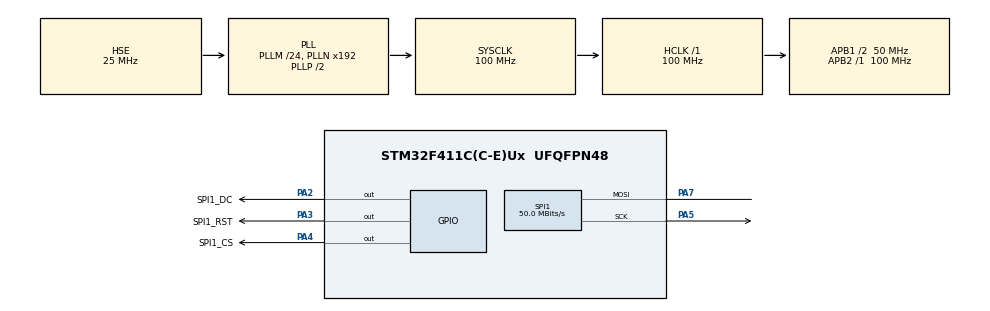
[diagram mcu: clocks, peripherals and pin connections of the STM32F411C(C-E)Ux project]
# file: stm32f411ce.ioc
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Mcu.Family=STM32F4
RCC.PLLSourceVirtual=RCC_PLLSOURCE_HSE
VP_STMicroelectronics.X-CUBE-TOUCHGFX_VS_GraphicsJjApplication_4.18.1.Mode=GraphicsJjApplication
RCC.CortexFreq_Value=100000000
PA7.Mode=Simplex_Bidirectional_Master
STMicroelectronics.X-CUBE-TOUCHGFX.4.18.1_IsPackSelfContextualization=true
SPI1.VirtualType=VM_MASTER
STMicroelectronics.X-CUBE-TOUCHGFX.4.18.1.tgfx_pixel_format=RGB565\:16
PH1\ -\ OSC_OUT.Mode=HSE-External-Oscillator
PA2.GPIO_Speed=GPIO_SPEED_FREQ_VERY_HIGH
RCC.APB1CLKDivider=RCC_HCLK_DIV2
PA3.GPIO_Speed=GPIO_SPEED_FREQ_VERY_HIGH
RCC.SYSCLKSource=RCC_SYSCLKSOURCE_PLLCLK
ProjectManager.StackSize=0x400
PH0\ -\ OSC_IN.Mode=HSE-External-Oscillator
PA4.PinState=GPIO_PIN_SET
PH0\ -\ OSC_IN.Signal=RCC_OSC_IN
ProjectManager.TargetToolchain=STM32CubeIDE
SPI1.Direction=SPI_DIRECTION_1LINE
RCC.HCLKFreq_Value=100000000
RCC.APB2TimFreq_Value=100000000
SPI1.CalculateBaudRate=50.0 MBits/s
RCC.LSE_VALUE=32768
RCC.AHBFreq_Value=100000000
PA5.Signal=SPI1_SCK
RCC.HSE_VALUE=25000000
PH1\ -\ OSC_OUT.Signal=RCC_OSC_OUT
board=custom
STMicroelectronics.X-CUBE-TOUCHGFX.4.18.1.tgfx_custom_height=128
RCC.VCOOutputFreq_Value=200000000
PA4.GPIO_Speed=GPIO_SPEED_FREQ_VERY_HIGH
PA2.PinState=GPIO_PIN_SET
RCC.APB2Freq_Value=100000000
SPI1.Mode=SPI_MODE_MASTER
STMicroelectronics.X-CUBE-TOUCHGFX.4.18.1.tgfx_custom_width=128
SPI1.DataSize=SPI_DATASIZE_8BIT
STMicroelectronics.X-CUBE-TOUCHGFX.4.18.1.tgfx_number_of_blocks=1
Mcu.Name=STM32F411C(C-E)Ux
PA2.Signal=GPIO_Output
RCC.48MHZClocksFreq_Value=50000000
PA4.Signal=GPIO_Output
RCC.SYSCLKFreq_VALUE=100000000
Mcu.Package=UFQFPN48
PA2.GPIO_Label=SPI1_DC
STMicroelectronics.X-CUBE-TOUCHGFX.4.18.1.tgfx_address1=0xD0100000
ProjectManager.HeapSize=0x200
RCC.HSI_VALUE=16000000
STMicroelectronics.X-CUBE-TOUCHGFX.4.18.1.tgfx_location=Allocate
STMicroelectronics.X-CUBE-TOUCHGFX.4.18.1.ApplicationCcGraphicsJjApplication=TouchGFXOoGenerator
NVIC.PriorityGroup=NVIC_PRIORITYGROUP_4
RCC.PLLM=24
RCC.APB1TimFreq_Value=100000000
PA3.PinState=GPIO_PIN_SET
RCC.APB1Freq_Value=50000000
SPI1.BaudRatePrescaler=SPI_BAUDRATEPRESCALER_2
VP_CRC_VS_CRC.Mode=CRC_Activate
PA4.GPIO_Label=SPI1_CS
STMicroelectronics.X-CUBE-TOUCHGFX.4.18.1.tgfx_hardware_accelerator=dma_custom
PA3.GPIO_Label=SPI1_RST
PA3.Signal=GPIO_Output
STMicroelectronics.X-CUBE-TOUCHGFX.4.18.1.tgfx_buffering_strategy=Single
PA5.Mode=Simplex_Bidirectional_Master
PA7.Signal=SPI1_MOSI

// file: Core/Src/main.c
/* USER CODE BEGIN Header */
/**
  ******************************************************************************
  * @file           : main.c
  * @brief          : Main program body
  ******************************************************************************
  * @attention
  *
  * <h2><center>&copy; Copyright (c) 2022 STMicroelectronics.
  * All rights reserved.</center></h2>
  *
  * This software component is licensed by ST under BSD 3-Clause license,
  * the "License"; You may not use this file except in compliance with the
  * License. You may obtain a copy of the License at:
  *                        opensource.org/licenses/BSD-3-Clause
  *
  ******************************************************************************
  */
/* USER CODE END Header */
#include "main.h"
#include "app_touchgfx.h"

/* USER CODE BEGIN Includes */
#include "ST7735.h"
#include "GFX_FUNCTIONS.h"

// #include "u8g2/u8g2.h"

/* USER CODE END Includes */

CRC_HandleTypeDef hcrc;

SPI_HandleTypeDef hspi1;

void SystemClock_Config(void);
static void MX_GPIO_Init(void);
static void MX_CRC_Init(void);
static void MX_SPI1_Init(void);

int main(void)
{

  /* MCU Configuration--------------------------------------------------------*/

  /* Reset of all peripherals, Initializes the Flash interface and the Systick. */
  HAL_Init();

  /* Configure the system clock */
  SystemClock_Config();

  /* Initialize all configured peripherals */
  MX_GPIO_Init();
  MX_CRC_Init();
  MX_SPI1_Init();
  MX_TouchGFX_Init();
  /* USER CODE BEGIN 2 */
  ST7735_Init(0);
  fillScreen(BLACK);

  /* USER CODE END 2 */

  /* Infinite loop */
    while (1)
    {

  MX_TouchGFX_Process();
    /* USER CODE BEGIN 3 */

  	  ST7735_SetRotation(0);
  	  ST7735_WriteString(0, 0, "HELLO", Font_11x18, RED,BLACK);
  	  HAL_Delay(1000);
  	  fillScreen(BLACK);

  	  ST7735_SetRotation(1);
  	  ST7735_WriteString(0, 0, "WORLD", Font_11x18, GREEN,BLACK);
  	  HAL_Delay(1000);
  	  fillScreen(BLACK);

  	  ST7735_SetRotation(2);
  	  ST7735_WriteString(0, 0, "FROM", Font_11x18, BLUE,BLACK);
  	  HAL_Delay(1000);
  	  fillScreen(BLACK);

  	  ST7735_SetRotation(3);
  	  ST7735_WriteString(0, 0, "ControllersTech", Font_16x26, YELLOW,BLACK);
  	  HAL_Delay(1000);
  	  fillScreen(BLACK);
    }
  /* USER CODE END 3 */
}

void SystemClock_Config(void)
{
  RCC_OscInitTypeDef RCC_OscInitStruct = {0};
  RCC_ClkInitTypeDef RCC_ClkInitStruct = {0};

  /** Configure the main internal regulator output voltage
  */
  __HAL_RCC_PWR_CLK_ENABLE();
  __HAL_PWR_VOLTAGESCALING_CONFIG(PWR_REGULATOR_VOLTAGE_SCALE1);
  /** Initializes the RCC Oscillators according to the specified parameters
  * in the RCC_OscInitTypeDef structure.
  */
  RCC_OscInitStruct.OscillatorType = RCC_OSCILLATORTYPE_HSE;
  RCC_OscInitStruct.HSEState = RCC_HSE_ON;
  RCC_OscInitStruct.PLL.PLLState = RCC_PLL_ON;
  RCC_OscInitStruct.PLL.PLLSource = RCC_PLLSOURCE_HSE;
  RCC_OscInitStruct.PLL.PLLM = 24;
  RCC_OscInitStruct.PLL.PLLN = 192;
  RCC_OscInitStruct.PLL.PLLP = RCC_PLLP_DIV2;
  RCC_OscInitStruct.PLL.PLLQ = 4;
  if (HAL_RCC_OscConfig(&RCC_OscInitStruct) != HAL_OK)
  {
    Error_Handler();
  }
  /** Initializes the CPU, AHB and APB buses clocks
  */
  RCC_ClkInitStruct.ClockType = RCC_CLOCKTYPE_HCLK|RCC_CLOCKTYPE_SYSCLK
                              |RCC_CLOCKTYPE_PCLK1|RCC_CLOCKTYPE_PCLK2;
  RCC_ClkInitStruct.SYSCLKSource = RCC_SYSCLKSOURCE_PLLCLK;
  RCC_ClkInitStruct.AHBCLKDivider = RCC_SYSCLK_DIV1;
  RCC_ClkInitStruct.APB1CLKDivider = RCC_HCLK_DIV2;
  RCC_ClkInitStruct.APB2CLKDivider = RCC_HCLK_DIV1;

  if (HAL_RCC_ClockConfig(&RCC_ClkInitStruct, FLASH_LATENCY_3) != HAL_OK)
  {
    Error_Handler();
  }
}

static void MX_CRC_Init(void)
{

  hcrc.Instance = CRC;
  if (HAL_CRC_Init(&hcrc) != HAL_OK)
  {
    Error_Handler();
  }

}

static void MX_SPI1_Init(void)
{

  /* SPI1 parameter configuration*/
  hspi1.Instance = SPI1;
  hspi1.Init.Mode = SPI_MODE_MASTER;
  hspi1.Init.Direction = SPI_DIRECTION_1LINE;
  hspi1.Init.DataSize = SPI_DATASIZE_8BIT;
  hspi1.Init.CLKPolarity = SPI_POLARITY_LOW;
  hspi1.Init.CLKPhase = SPI_PHASE_1EDGE;
  hspi1.Init.NSS = SPI_NSS_SOFT;
  hspi1.Init.BaudRatePrescaler = SPI_BAUDRATEPRESCALER_2;
  hspi1.Init.FirstBit = SPI_FIRSTBIT_MSB;
  hspi1.Init.TIMode = SPI_TIMODE_DISABLE;
  hspi1.Init.CRCCalculation = SPI_CRCCALCULATION_DISABLE;
  hspi1.Init.CRCPolynomial = 10;
  if (HAL_SPI_Init(&hspi1) != HAL_OK)
  {
    Error_Handler();
  }

}

static void MX_GPIO_Init(void)
{
  GPIO_InitTypeDef GPIO_InitStruct = {0};

  /* GPIO Ports Clock Enable */
  __HAL_RCC_GPIOH_CLK_ENABLE();
  __HAL_RCC_GPIOA_CLK_ENABLE();

  /*Configure GPIO pin Output Level */
  HAL_GPIO_WritePin(GPIOA, SPI1_DC_Pin|SPI1_RST_Pin|SPI1_CS_Pin, GPIO_PIN_SET);

  /*Configure GPIO pins : SPI1_DC_Pin SPI1_RST_Pin SPI1_CS_Pin */
  GPIO_InitStruct.Pin = SPI1_DC_Pin|SPI1_RST_Pin|SPI1_CS_Pin;
  GPIO_InitStruct.Mode = GPIO_MODE_OUTPUT_PP;
  GPIO_InitStruct.Pull = GPIO_NOPULL;
  GPIO_InitStruct.Speed = GPIO_SPEED_FREQ_VERY_HIGH;
  HAL_GPIO_Init(GPIOA, &GPIO_InitStruct);

}

void Error_Handler(void)
{
  __disable_irq();
  while (1)
  {
  }
}

/************************ (C) COPYRIGHT STMicroelectronics *****END OF FILE****/
